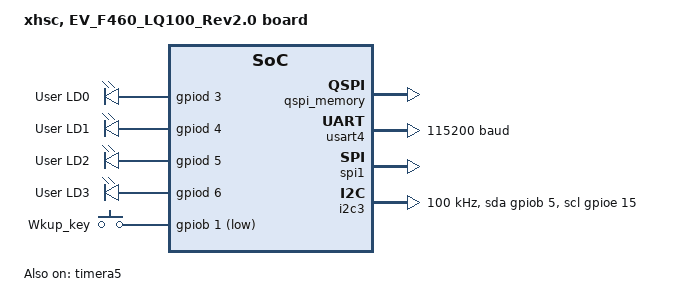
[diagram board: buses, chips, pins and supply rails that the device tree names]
/*
 * Copyright (C) 2022-2024, Xiaohua Semiconductor Co., Ltd.
 * SPDX-License-Identifier: Apache-2.0
 */

/dts-v1/;
#include <xhsc/f4/hc32f460.dtsi>
#include "hc32f460_evb-pinctrl.dtsi"

/ {
	model = "xhsc, EV_F460_LQ100_Rev2.0 board";
	compatible = "xhsc,hc32f460_evb";

	chosen {
		zephyr,sram = &sram0;
		zephyr,flash = &flash0;
		zephyr,console = &usart4;
		zephyr,shell-uart = &usart4;
	};

	leds {
		compatible = "gpio-leds";
		red_led: led_0 {
			gpios = <&gpiod 3 GPIO_ACTIVE_HIGH>;
			label = "User LD0";
		};
		green_led: led_1 {
			gpios = <&gpiod 4 GPIO_ACTIVE_HIGH>;
			label = "User LD1";
		};
		yellow_led: led_2 {
			gpios = <&gpiod 5 GPIO_ACTIVE_HIGH>;
			label = "User LD2";
		};
		blue_led: led_3 {
			gpios = <&gpiod 6 GPIO_ACTIVE_HIGH>;
			label = "User LD3";
		};
	};

	gpio_keys {
		compatible = "gpio-keys";
		user_button: button {
			label = "Wkup_key";
			gpios = <&gpiob 1 GPIO_ACTIVE_LOW>;
		};
	};

	aliases {
		led0 = &green_led;
		sw0 = &user_button;
	};

	qspi_memory: memory@98000000 {
		compatible = "zephyr,memory-region", "mmio-sram";
		reg = <0x98000000 DT_SIZE_M(64)>;
		zephyr,memory-region = "QSPI";
	};
};
&gpioa {
	status = "okay";
};

&gpiob {
	status = "okay";
};

&gpioc {
	status = "okay";
};

&gpiod {
	status = "okay";
};

&gpioe {
	status = "okay";
};

&gpioh {
	status = "okay";
};

&clk_xtal {
	status = "okay";
};

&clk_xtal32 {
	status = "okay";
};

&clk_hrc {
	status = "okay";
};

&clk_mrc {
	status = "okay";
};

&clk_lrc {
	status = "okay";
};

&clk_pll {
	status = "okay";
};

&usart4 {
	status = "okay";
	current-speed = <115200>;
	pinctrl-0 = <&usart4_default>;
	pinctrl-names = "default";
};

&spi1 {
	status = "okay";
	pinctrl-0 = <&spi1_default>;
	pinctrl-names = "default";
	cs-gpios = <&gpioa 7 GPIO_ACTIVE_LOW>;
};

&i2c3 {
	status = "okay";
	pinctrl-0 = <&i2c3_default>;
	pinctrl-names = "default";
	dmas = <&dma1 0 INT_SRC_I2C3_TEI (HC32_DMA_MEMORY_TO_PERIPH | HC32_DMA_SOURCE_ADDR_INC | HC32_DMA_DEST_ADDR_FIX | HC32_DMA_DATA_WIDTH_8BIT)>,
			<&dma1 1 INT_SRC_I2C3_RXI (HC32_DMA_PERIPH_TO_MEMORY | HC32_DMA_SOURCE_ADDR_FIX | HC32_DMA_DEST_ADDR_INC | HC32_DMA_DATA_WIDTH_8BIT)>;
	dma-names = "tx_dma","rx_dma";
	scl-gpios = <&gpioe 15 GPIO_OPEN_DRAIN>;
	sda-gpios = <&gpiob 5 GPIO_OPEN_DRAIN>;
	clock-frequency = < 100000 >;
	/* delete dma property once use interrupt transfer.
	** dma-names must be named "tx_dma","rx_dma" while used dma transfer for i2c.
	** example :
	** dma-names = "tx_dma","rx_dma";
	*/
	/delete-property/ dmas;
	/delete-property/ dma-names;
};

&timera5 {
	status = "okay";

	qdec {
		pinctrl-0 = <&tmra5_qdec_default>;
		pinctrl-names = "default";
		hw-count-conditions = <(TMR_UP_COND_A_H_B_R | TMR_UP_COND_B_H_A_R)>;
		counts-per-revolution = <1000>;
	};
};

&flash0 {
	partitions {
		#address-cells = <1>;
		#size-cells = <1>;
		compatible = "fixed-partitions";

		/* Set 4Kb for storage using in the 256KB flash 0 */
		storage_partition: partition@20000 {
			label = "storage";
			reg = <0x00020000 DT_SIZE_K(4)>;
		};
		/* reserved region */
		reserved_partition: partition@7ffe0 {
			label = "reserved";
			reg = <0x0007ffe0 32>;
		};
	};
};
